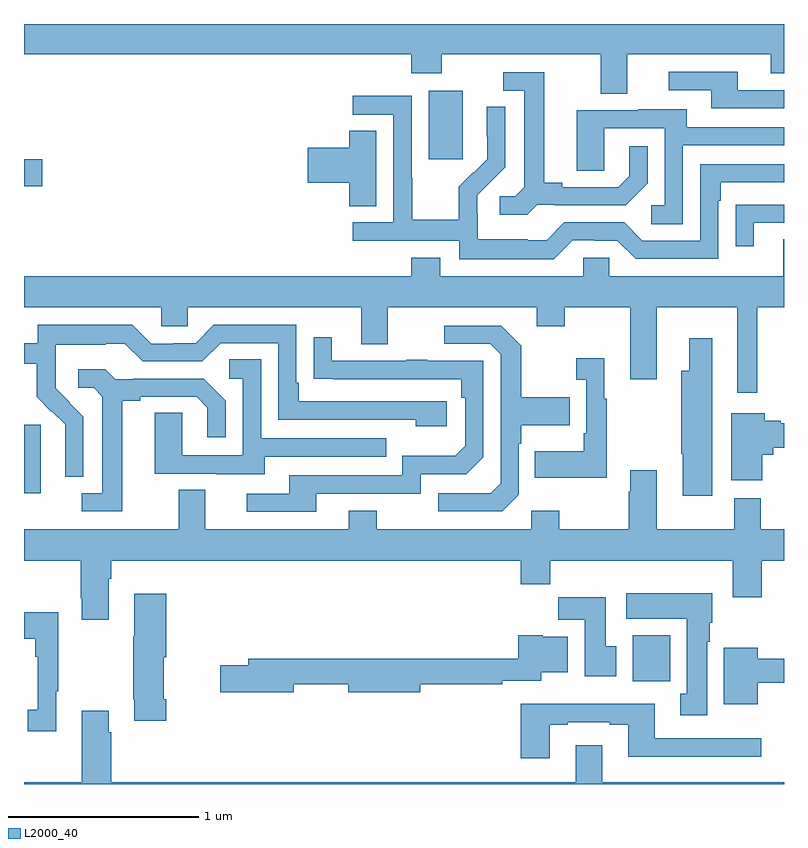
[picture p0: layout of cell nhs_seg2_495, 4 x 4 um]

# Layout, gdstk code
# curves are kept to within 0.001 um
import gdstk
lib = gdstk.Library(unit=1e-6, precision=1e-09)
def R(c, l, rs):  # rectangles x0, y0, x1, y1
    for r in rs: c.add(gdstk.rectangle(r[:2], r[2:], *l))
def P(c, l, *ps):  # polygons
    for p in ps: c.add(gdstk.Polygon(p, *l))
L2000_40 = (2000, 40)

nhs_seg2_495 = lib.new_cell('nhs_seg2_495')
R(nhs_seg2_495, L2000_40, [(138.203,640.34,138.4,640.582), (135,641.33,135.088,641.691), (135,642.946,135.097,643.088), (137.129,643.089,137.308,643.45)])
P(nhs_seg2_495, L2000_40, [(135,643.64),(137.039,643.64),(137.039,643.541),(137.199,643.541),(137.199,643.64),(138.035,643.64),(138.035,643.432),(138.175,643.432),(138.175,643.64),(138.929,643.64),(138.929,643.541),(139,643.541),(139,643.8),(135,643.8)],
  [(139,643.452),(138.757,643.452),(138.757,643.548),(138.393,643.548),(138.393,643.452),(138.617,643.452),(138.617,643.356),(139,643.356)],
  [(137.7,642.849),(137.794,642.849),(137.794,642.846),(138.166,642.846),(138.282,642.962),(138.282,643.156),(138.185,643.156),(138.185,642.999),(138.128,642.942),(137.833,642.942),(137.833,642.965),(137.737,642.965),(137.737,643.545),(137.523,643.545),(137.523,643.449),(137.633,643.449),(137.633,642.941),(137.586,642.894),(137.505,642.894),(137.505,642.797),(137.648,642.797)],
  [(137.889,642.663),(138.005,642.663),(138.005,642.66),(138.123,642.66),(138.219,642.564),(138.654,642.564),(138.654,642.869),(138.667,642.869),(138.667,642.966),(139,642.966),(139,643.062),(138.558,643.062),(138.558,642.66),(138.255,642.66),(138.159,642.756),(137.844,642.756),(137.751,642.663),(137.651,642.663),(137.651,642.667),(137.388,642.667),(137.388,642.801),(137.386,642.801),(137.386,642.898),(137.532,643.046),(137.532,643.364),(137.436,643.364),(137.436,643.21),(137.438,643.21),(137.438,643.088),(137.367,643.017),(137.364,643.02),(137.287,642.943),(137.287,642.769),(137.043,642.769),(137.043,642.992),(137.04,642.992),(137.04,643.422),(136.731,643.422),(136.731,643.323),(136.944,643.323),(136.944,642.756),(136.731,642.756),(136.731,642.66),(137.292,642.66),(137.292,642.563),(137.789,642.563)],
  [(138.468,643.161),(139,643.161),(139,643.257),(138.487,643.257),(138.487,643.351),(138.233,643.351),(138.233,643.347),(137.909,643.347),(137.909,643.027),(138.054,643.027),(138.054,643.251),(138.372,643.251),(138.372,642.846),(138.3,642.846),(138.3,642.745),(138.468,642.745)],
  [(136.855,643.238),(136.712,643.238),(136.712,643.148),(136.494,643.148),(136.494,642.965),(136.712,642.965),(136.712,642.841),(136.855,642.841)],
  [(138.841,642.753),(139,642.753),(139,642.849),(138.847,642.849),(138.847,642.848),(138.745,642.848),(138.745,642.63),(138.841,642.63)],
  [(138.859,642.308),(139,642.308),(139,642.667),(138.995,642.667),(138.995,642.472),(138.081,642.472),(138.081,642.57),(137.943,642.57),(137.943,642.472),(137.191,642.472),(137.191,642.571),(137.039,642.571),(137.039,642.472),(135,642.472),(135,642.308),(135.723,642.308),(135.723,642.21),(135.861,642.21),(135.861,642.308),(136.775,642.308),(136.775,642.114),(136.915,642.114),(136.915,642.308),(137.699,642.308),(137.699,642.209),(137.847,642.209),(137.847,642.308),(138.191,642.308),(138.191,641.931),(138.331,641.931),(138.331,642.308),(138.755,642.308),(138.755,641.859),(138.859,641.859)],
  [(135.312,641.734),(135.166,641.882),(135.166,641.979),(135.168,641.979),(135.168,642.113),(135.431,642.113),(135.431,642.117),(135.531,642.117),(135.624,642.024),(135.939,642.024),(136.035,642.12),(136.338,642.12),(136.338,641.718),(137.063,641.718),(137.063,641.684),(137.224,641.684),(137.224,641.814),(136.447,641.814),(136.447,641.911),(136.434,641.911),(136.434,642.216),(135.999,642.216),(135.903,642.12),(135.785,642.12),(135.785,642.117),(135.669,642.117),(135.569,642.217),(135.072,642.217),(135.072,642.12),(135,642.12),(135,642.012),(135.067,642.012),(135.067,641.837),(135.144,641.76),(135.147,641.763),(135.218,641.693),(135.218,641.57),(135.216,641.57),(135.216,641.416),(135.312,641.416)],
  [(137.604,641.322),(137.604,641.591),(137.617,641.591),(137.617,641.687),(137.873,641.687),(137.873,641.835),(137.617,641.835),(137.617,642.107),(137.511,642.213),(137.211,642.213),(137.211,642.117),(137.454,642.117),(137.508,642.063),(137.508,641.382),(137.457,641.331),(137.181,641.331),(137.181,641.235),(137.517,641.235)],
  [(136.537,641.328),(137.088,641.328),(137.088,641.43),(137.328,641.43),(137.418,641.52),(137.418,642.027),(137.123,642.027),(137.123,642.032),(137.011,642.032),(137.011,642.027),(136.621,642.027),(136.621,642.151),(136.525,642.151),(136.525,641.932),(137.302,641.931),(137.302,641.834),(137.322,641.834),(137.322,641.58),(137.269,641.527),(136.992,641.527),(136.992,641.424),(136.397,641.424),(136.397,641.328),(136.173,641.328),(136.173,641.232),(136.537,641.232)],
  [(138.622,642.145),(138.5,642.145),(138.5,641.974),(138.46,641.974),(138.46,641.539),(138.467,641.539),(138.467,641.316),(138.622,641.316)],
  [(138.067,641.827),(138.055,641.827),(138.055,642.04),(137.907,642.04),(137.907,641.927),(137.958,641.927),(137.958,641.647),(137.946,641.647),(137.946,641.551),(137.689,641.551),(137.689,641.411),(138.067,641.411)],
  [(136.267,641.523),(136.907,641.523),(136.907,641.619),(136.248,641.619),(136.248,642.035),(136.08,642.035),(136.08,641.934),(136.152,641.934),(136.152,641.529),(135.834,641.529),(135.834,641.753),(135.689,641.753),(135.689,641.433),(136.013,641.433),(136.013,641.429),(136.267,641.429)],
  [(135.517,641.816),(135.613,641.816),(135.613,641.838),(135.908,641.838),(135.965,641.781),(135.965,641.625),(136.062,641.625),(136.062,641.818),(135.946,641.934),(135.574,641.934),(135.574,641.931),(135.48,641.931),(135.428,641.983),(135.285,641.983),(135.285,641.886),(135.366,641.886),(135.413,641.839),(135.413,641.331),(135.303,641.331),(135.303,641.235),(135.517,641.235)],
  [(138.886,641.534),(138.943,641.534),(138.943,641.57),(139,641.57),(139,641.698),(138.982,641.698),(138.982,641.711),(138.899,641.711),(138.899,641.752),(138.722,641.752),(138.722,641.4),(138.886,641.4)],
  [(135.445,640.88),(135.458,640.88),(135.458,640.976),(137.615,640.976),(137.615,640.852),(137.771,640.852),(137.771,640.976),(138.731,640.976),(138.731,640.782),(138.884,640.782),(138.884,640.976),(139,640.976),(139,641.14),(138.877,641.14),(138.877,641.305),(138.737,641.305),(138.737,641.14),(138.331,641.14),(138.331,641.452),(138.191,641.452),(138.191,641.339),(138.184,641.339),(138.184,641.14),(137.817,641.14),(137.817,641.239),(137.67,641.239),(137.67,641.14),(136.857,641.14),(136.857,641.239),(136.709,641.239),(136.709,641.14),(135.955,641.14),(135.955,641.348),(135.815,641.348),(135.815,641.14),(135,641.14),(135,640.976),(135.298,640.976),(135.298,640.777),(135.305,640.777),(135.305,640.665),(135.445,640.665)],
  [(138.595,640.55),(138.61,640.55),(138.61,640.65),(138.622,640.65),(138.622,640.804),(138.171,640.804),(138.171,640.67),(138.488,640.67),(138.488,640.274),(138.455,640.274),(138.455,640.161),(138.595,640.161)],
  [(135.749,640.246),(135.736,640.246),(135.736,640.467),(135.749,640.467),(135.749,640.801),(135.581,640.801),(135.581,640.577),(135.574,640.577),(135.574,640.246),(135.581,640.246),(135.581,640.134),(135.749,640.134)],
  [(138.118,640.524),(138.061,640.524),(138.061,640.783),(137.812,640.783),(137.812,640.664),(137.951,640.664),(137.951,640.368),(138.118,640.368)],
  [(135.169,640.289),(135.181,640.289),(135.181,640.705),(135,640.705),(135,640.565),(135.06,640.565),(135.06,640.469),(135.072,640.469),(135.072,640.19),(135.021,640.19),(135.021,640.077),(135.169,640.077)],
  [(136.42,640.324),(136.706,640.324),(136.706,640.282),(137.086,640.282),(137.086,640.324),(137.516,640.324),(137.516,640.344),(137.722,640.344),(137.722,640.388),(137.863,640.388),(137.863,640.576),(137.73,640.576),(137.73,640.582),(137.6,640.582),(137.6,640.46),(136.181,640.46),(136.181,640.424),(136.032,640.424),(136.032,640.282),(136.42,640.282)],
  [(138.862,640.332),(139,640.332),(139,640.46),(138.862,640.46),(138.862,640.516),(138.683,640.516),(138.683,640.22),(138.862,640.22)],
  [(137.767,640.113),(137.863,640.113),(137.863,640.125),(138.083,640.125),(138.083,640.113),(138.179,640.113),(138.179,639.944),(138.88,639.944),(138.88,640.041),(138.319,640.041),(138.319,640.222),(137.615,640.222),(137.615,639.936),(137.767,639.936)],
  [(139,639.808),(138.043,639.808),(138.043,640.003),(137.903,640.003),(137.903,639.808),(135.458,639.808),(135.458,640.073),(135.445,640.073),(135.445,640.186),(135.305,640.186),(135.305,639.808),(135,639.808),(135,639.8),(139,639.8)])

lib.write_gds('nhs_seg2_495.gds')
